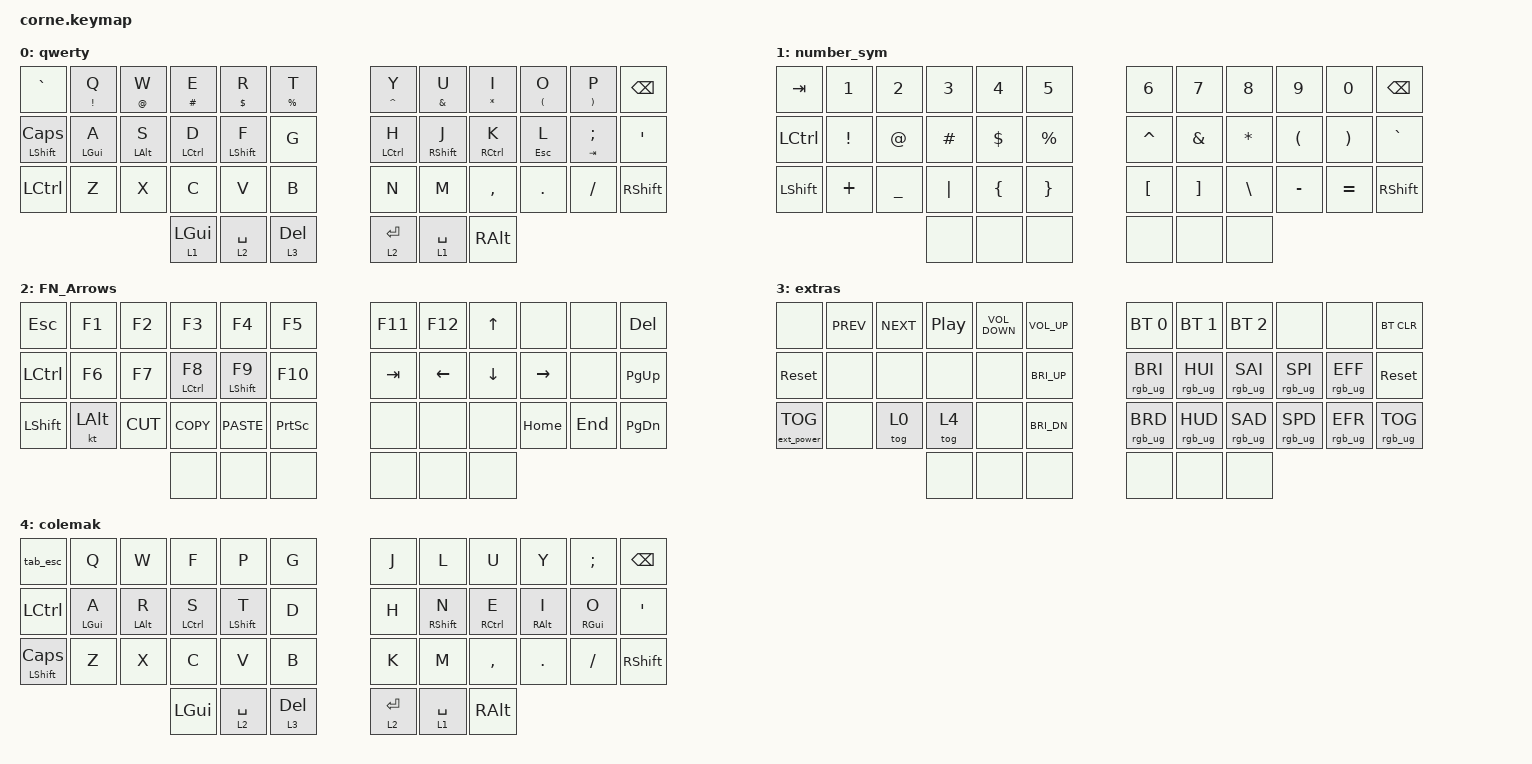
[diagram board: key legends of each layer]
#include <behaviors.dtsi>
#include <dt-bindings/zmk/bt.h>
#include <dt-bindings/zmk/ext_power.h>
#include <dt-bindings/zmk/keys.h>
#include <dt-bindings/zmk/rgb.h>

/ {
    behaviors {
        tab_esc: tab_esc {
            compatible = "zmk,behavior-tap-dance";
            label = "TAB_ESC";
            #binding-cells = <0>;
            tapping-term-ms = <200>;
            bindings = <&kp TAB>, <&kp ESC>;
        };

        hm: homerow_mods {
            compatible = "zmk,behavior-hold-tap";
            label = "HOMEROW_MODS";
            #binding-cells = <2>;
            tapping-term-ms = <225>;
            quick_tap_ms = <180>;
            flavor = "tap-preferred";
            bindings = <&kp>, <&kp>;

            global-quick-tap;
        };
    };

    combos {
        compatible = "zmk,combos";

        JKL-Enter {
            bindings = <&kp ENTER>;
            key-positions = <19 20 21>;
        };

        DF-backspace {
            bindings = <&kp BACKSPACE>;
            key-positions = <15 16>;
        };

        WER-Copy {
            bindings = <&kp K_COPY>;
            key-positions = <2 3 4>;
        };

        ER-Paste {
            bindings = <&kp K_PASTE>;
            key-positions = <3 4>;
        };

        WE-Delete {
            bindings = <&kp DELETE>;
            key-positions = <15 14>;
        };
    };

    keymap {
        compatible = "zmk,keymap";

        qwerty {
            bindings = <
&kp GRAVE                &hm EXCLAMATION Q  &hm AT_SIGN W   &hm POUND E     &hm DOLLAR R      &hm PERCENT T  &hm CARET Y         &hm AMPERSAND U  &hm ASTERISK I  &hm LEFT_PARENTHESIS O  &hm RIGHT_PARENTHESIS P  &kp BACKSPACE
&mt LEFT_SHIFT CAPSLOCK  &hm LEFT_GUI A     &hm LEFT_ALT S  &hm LCTRL D     &hm LEFT_SHIFT F  &kp G          &hm LEFT_CONTROL H  &hm RSHIFT J     &hm RCTRL K     &hm ESCAPE L            &hm TAB SEMICOLON        &kp SQT
&kp LCTRL                &kp Z              &kp X           &kp C           &kp V             &kp B          &kp N               &kp M            &kp COMMA       &kp DOT                 &kp FSLH                 &kp RIGHT_SHIFT
                                                            &lt 1 LEFT_GUI  &lt 2 SPACE       &lt 3 DELETE   &lt 2 ENTER         &lt 1 SPACE      &kp RIGHT_ALT
            >;
        };

        number_sym {
            bindings = <
&kp TAB           &kp N1           &kp N2       &kp N3     &kp N4          &kp N5           &kp N6            &kp N7             &kp N8         &kp N9                &kp N0                 &kp BACKSPACE
&kp LEFT_CONTROL  &kp EXCLAMATION  &kp AT_SIGN  &kp POUND  &kp DOLLAR      &kp PERCENT      &kp CARET         &kp AMPERSAND      &kp ASTERISK   &kp LEFT_PARENTHESIS  &kp RIGHT_PARENTHESIS  &kp GRAVE
&kp LEFT_SHIFT    &kp PLUS         &kp UNDER    &kp PIPE   &kp LEFT_BRACE  &kp RIGHT_BRACE  &kp LEFT_BRACKET  &kp RIGHT_BRACKET  &kp BACKSLASH  &kp MINUS             &kp EQUAL              &kp RIGHT_SHIFT
                                                &none      &none           &none            &none             &none              &none
            >;
        };

        FN_Arrows {
            bindings = <
&kp ESCAPE        &kp F1        &kp F2     &kp F3               &kp F4             &kp F5           &kp F11  &kp F12   &kp UP_ARROW  &none      &none    &kp DELETE
&kp LEFT_CONTROL  &kp F6        &kp F7     &hm LEFT_CONTROL F8  &hm LEFT_SHIFT F9  &kp F10          &kp TAB  &kp LEFT  &kp DOWN      &kp RIGHT  &none    &kp PAGE_UP
&kp LEFT_SHIFT    &kt LEFT_ALT  &kp K_CUT  &kp K_COPY           &kp K_PASTE        &kp PRINTSCREEN  &none    &none     &none         &kp HOME   &kp END  &kp PAGE_DOWN
                                           &none                &none              &none            &none    &none     &none
            >;
        };

        extras {
            bindings = <
&none              &kp C_PREV  &kp C_NEXT  &kp C_PP  &kp C_VOLUME_DOWN  &kp C_VOL_UP  &bt BT_SEL 0     &bt BT_SEL 1     &bt BT_SEL 2     &none            &none            &bt BT_CLR
&sys_reset         &none       &none       &none     &none              &kp C_BRI_UP  &rgb_ug RGB_BRI  &rgb_ug RGB_HUI  &rgb_ug RGB_SAI  &rgb_ug RGB_SPI  &rgb_ug RGB_EFF  &sys_reset
&ext_power EP_TOG  &none       &tog 0      &tog 4    &none              &kp C_BRI_DN  &rgb_ug RGB_BRD  &rgb_ug RGB_HUD  &rgb_ug RGB_SAD  &rgb_ug RGB_SPD  &rgb_ug RGB_EFR  &rgb_ug RGB_TOG
                                           &none     &none              &none         &none            &none            &none
            >;
        };

        colemak {
            bindings = <
&tab_esc                 &kp Q           &kp W           &kp F               &kp P             &kp G         &kp J        &kp L              &kp U                &kp Y            &kp SEMICOLON    &kp BACKSPACE
&kp LCTRL                &hm LEFT_GUI A  &hm LEFT_ALT R  &hm LEFT_CONTROL S  &hm LEFT_SHIFT T  &kp D         &kp H        &hm RIGHT_SHIFT N  &hm RIGHT_CONTROL E  &hm RIGHT_ALT I  &hm RIGHT_GUI O  &kp SQT
&mt LEFT_SHIFT CAPSLOCK  &kp Z           &kp X           &kp C               &kp V             &kp B         &kp K        &kp M              &kp COMMA            &kp DOT          &kp FSLH         &kp RIGHT_SHIFT
                                                         &kp LEFT_GUI        &lt 2 SPACE       &lt 3 DELETE  &lt 2 ENTER  &lt 1 SPACE        &kp RIGHT_ALT
            >;
        };
    };
};
